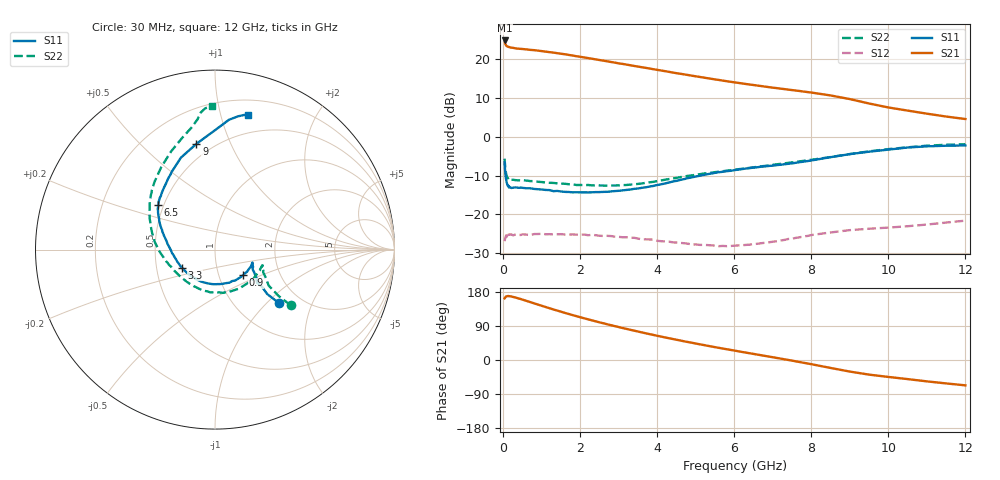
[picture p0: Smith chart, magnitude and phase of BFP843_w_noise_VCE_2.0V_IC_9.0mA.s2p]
! Infineon Technologies  Discrete & RF Semiconductors
! BFP843
! VCE =  2.0 V,  IC =  9.0 mA
! Common Emitter S-Parameters:  Aug 2013
# GHz  S  MA  R  50
!  f  S11  S21  S12  S22
! GHz  MAG  ANG  MAG  ANG  MAG  ANG  MAG  ANG
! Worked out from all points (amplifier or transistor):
!   103 points, 30 MHz to 12 GHz, reference 50 ohm
!   highest |S21| = 24.8 dB at 30 MHz (marker M1)
!   |S21| within 3 dB of that: start of sweep to 1.189 GHz
!   unconditionally stable (mu >= 1): 149.9 MHz to 10.87 GHz
!   at 400 MHz: K = 1.02, MAG = 23.1 dB, |S12| = -25.2 dB
!   at 3.7 GHz: K = 1.33, MAG = 18.6 dB, |S12| = -26.4 dB
!   at 12 GHz: K = 0.83, MSG = 13.1 dB, |S12| = -21.6 dB
!   lowest NFmin = 0.91 dB at 450 MHz
!   S11 on the Smith chart (normalised r, x): 30 MHz: 1.56, -1.19; 900 MHz: 1.30, -0.39; 3.3 GHz: 0.68, -0.14; 6.5 GHz: 0.47, +0.27; 9 GHz: 0.41, +0.75; 12 GHz: 0.33, +1.22
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0.03  0.4651 -39.9  17.36 162.7  0.0453 28.8  0.5222 -36.3
0.04  0.3813 -40.4  16.26 163.8  0.0485 23.3  0.4403 -36.1
0.05  0.3349 -38.4  15.65 166.2  0.0496 19.1  0.3888 -34.8
0.07  0.2806 -34.5  14.85 167.6  0.0541 13.4  0.3312 -30.2
0.13  0.2337 -24.4  14.35 168.9  0.055 8.6  0.2824 -21.5
0.3  0.2233 -19.7  13.78 165.2  0.055 3.7  0.2772 -19.1
0.6  0.2173 -30.2  13.32 155.9  0.055 0.7  0.273 -28.5
0.9  0.2113 -42.8  12.83 146.1  0.0561 -1.8  0.2635 -40.9
1.3  0.1996 -61.5  12.11 133.3  0.0554 -3.7  0.2547 -58.3
1.6  0.1954 -76.0  11.53 124.2  0.0551 -5.7  0.2481 -71.2
2.1  0.1926 -99.7  10.48 109.9  0.0552 -8.3  0.2388 -92.3
2.7  0.1957 -126.9  9.344 94.2  0.0531 -12.1  0.2343 -116.2
3.3  0.2097 -151.5  8.317 79.6  0.0501 -14.7  0.2424 -139.2
4.1  0.2446 -178.7  7.119 61.7  0.0453 -16.0  0.2742 -164.4
5.1  0.3154 159.5  5.889 41.4  0.0406 -12.1  0.3301 175.0
6.1  0.3779 147.1  4.939 23.0  0.04 -2.9  0.3822 159.7
6.5  0.4016 142.1  4.633 16.0  0.0416 0.9  0.4051 154.0
7.6  0.4625 125.7  3.932 -3.6  0.0501 5.6  0.4748 138.2
8.5  0.5466 110.3  3.401 -21.0  0.0587 3.4  0.5486 123.1
9  0.5981 100.0  3.054 -30.6  0.0629 0.9  0.5998 114.0
10.5  0.7272 83.9  2.172 -50.4  0.0706 -5.5  0.7315 97.7
12  0.7725 76.2  1.692 -66.9  0.0833 -12.4  0.8018 91.3
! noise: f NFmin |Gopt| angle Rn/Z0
0.45  0.91  0.08  6  0.01
0.9  0.92  0.08  17  0.04
1.5  0.94  0.08  27  0.09
1.9  0.97  0.07  36  0.17
2.4  1  0.06  47  0.24
3.5  1.06  0.03  59  0.28
5.5  1.2  0.15  -131  0.32
10  1.84  0.5  -68  0.42
